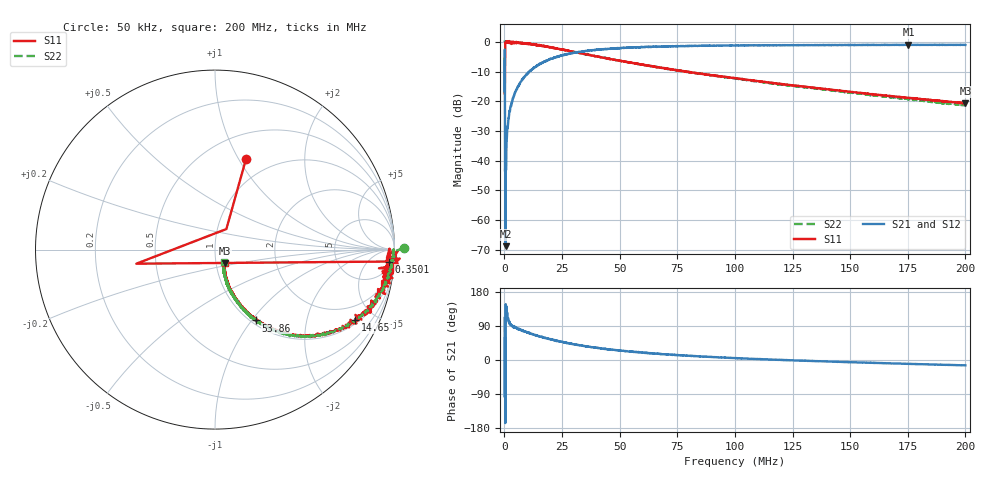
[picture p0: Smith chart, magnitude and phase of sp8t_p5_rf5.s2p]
! 26-Feb-26 12:09:29 PM
! E:\VNA_MEASUREMENTS\SP8T\SP8T_P5_RF5.S2P
! CHANNEL.1
! TR.MEASUREMENT
! CORRECTED.DATA
# GHZ S RI R 50.0
! FREQ.GHZ  S11RE  S11IM  S21RE  S21IM  S12RE  S12IM  S22RE  S22IM
!; PortSelection: Port_12
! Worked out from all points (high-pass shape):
!   2000 points, 50 kHz to 200 MHz, reference 50 ohm
!   highest |S21| = -0.96 dB at 175.3 MHz (marker M1); lowest = -68.9 dB at 450.1 kHz (marker M2)
!   |S21| within 3 dB of the highest: 140.2 kHz to 153.4 kHz (13.21 kHz wide, 9 % of centre); 28.41 MHz to end of sweep
!   lowest |S11| = -20.8 dB at 200 MHz (marker M3), VSWR 1.20, Z = 55 - j8.25 ohm
!   |S11| at or under -10 dB: 78.20393 MHz to 78.37336 MHz (169.4 kHz wide, 0.216 % of centre); 78.5291 MHz to 78.81659 MHz (287.5 kHz wide, 0.365 % of centre); 78.9 MHz to end of sweep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
!   |S22| runs from -21.4 to 0.5 dB; largest |S21 - S12| = 0.75
!   S11 on the Smith chart (normalised r, x): 50 kHz: 0.76, +1.07; 350.1 kHz: 10, -25; 14.65 MHz: 1.15, -3.88; 53.86 MHz: 1.06, -1.05; 200 MHz: 1.10, -0.17
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5e-05  0.1723 0.5031  -0.0522 0.1374  3.54e-05 0.00356  1.055 0.0103
0.000350075  0.9693 -0.0665  -0.00952 -0.00229  -0.00157 0.00841  0.99 -0.0186
0.0004501  0.9725 0.00582  -0.000262 -0.000248  -0.00172 0.0102  0.995 0.00129
0.001150275  0.9868 -0.0542  -0.0174 0.0244  -0.00372 0.0304  0.9866 -0.0451
0.0012503  0.9693 -0.0453  -0.0154 0.0343  -0.00448 0.0334  0.9922 -0.0501
0.001350325  1.009 -0.044  -0.0131 0.0325  -0.00376 0.0359  0.985 -0.0574
0.00145035  0.9958 -0.0365  -0.0127 0.0352  -0.00494 0.0389  0.9839 -0.0538
0.001550375  0.9822 -0.064  -0.0141 0.0398  -0.00498 0.0427  0.9953 -0.0584
0.002150525  1.029 -0.0498  -0.0137 0.0674  -0.00402 0.0633  0.9888 -0.0808
0.00305075  0.9914 -0.1067  -0.00193 0.0942  -0.000429 0.0909  0.9811 -0.1071
0.004051001  0.9616 -0.1873  0.00977 0.1234  0.00819 0.1202  0.966 -0.1331
0.008252051  0.8996 -0.2481  0.0544 0.2401  0.0562 0.2376  0.9081 -0.2588
0.01465365  0.781 -0.3942  0.1809 0.3633  0.1813 0.3629  0.7816 -0.3932
0.02355588  0.5975 -0.4764  0.3761 0.4381  0.3741 0.4309  0.5957 -0.4736
0.03345835  0.427 -0.4719  0.5454 0.4208  0.5398 0.4216  0.4229 -0.48
0.05386346  0.2292 -0.3946  0.7422 0.3068  0.7391 0.3115  0.2223 -0.3898
0.06676668  0.1667 -0.3352  0.7965 0.241  0.7972 0.2362  0.1574 -0.3356
0.100075  0.0874 -0.228  0.8664 0.0725  0.8653 0.0732  0.082 -0.2287
0.1333833  0.0624 -0.158  0.8797 -0.0383  0.8803 -0.0384  0.0573 -0.1578
0.1666917  0.054 -0.1106  0.8765 -0.137  0.8782 -0.1367  0.0479 -0.1093
0.1752938  0.0523 -0.1009  0.881 -0.1611  0.8741 -0.1593  0.0496 -0.1011
0.2  0.0533 -0.0744  0.8613 -0.2156  0.8606 -0.2173  0.0478 -0.0717
